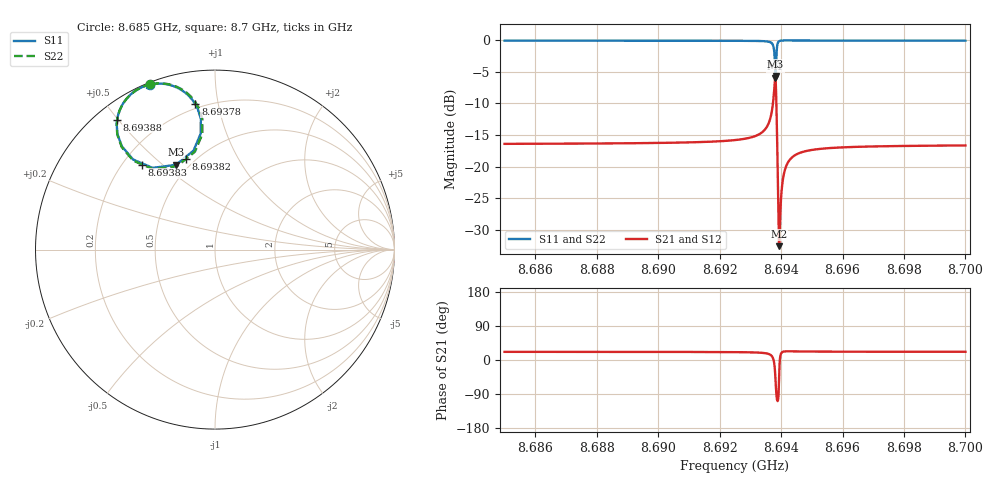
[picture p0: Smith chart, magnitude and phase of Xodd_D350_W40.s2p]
! Sonnet Data File
! From: emgraph Version : 16.52
! From Project: Qubit_Xmon2_brg
! Data is De-embedded
! Data File Written: 10/25/2017 20:12:53
!< HDATE 10/25/2017 15:44:55
!< MDATE 10/25/2017 15:44:55
!< PARAMS
!< Lj = 11.0
!< Gap = 6.0
!< Pwid = 2000.0
!< Airgap = 6.0
!< Width = 10.0
!< Bwid = 40.0
!< Dis1 = 350.0
!< Dis2 = 356.0
!< END PARAMS
# GHZ S MA R 34.70000
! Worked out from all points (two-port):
!   3001 points, 8.685 GHz to 8.7 GHz, reference 34.7 ohm
!   highest |S21| = -6.03 dB at 8.69381 GHz (marker M1); lowest = -32.6 dB at 8.69393 GHz (marker M2)
!   |S21| within 3 dB of the highest: 8.693756 GHz to 8.693842 GHz (85.49 kHz wide, 0.000983 % of centre)
!   lowest |S11| = -5.7 dB at 8.69382 GHz (marker M3), VSWR 3.17, Z = 14.9 + j19.2 ohm
!   |S11| at or under -10 dB: nowhere
!   |S22| runs from -5.8 to -0.1 dB; largest |S21 - S12| = 0
!   S11 on the Smith chart (normalised r, x): 8.685 GHz: 0.01, +0.68; 8.69378 GHz: 0.18, +0.86; 8.69382 GHz: 0.45, +0.63; 8.69383 GHz: 0.28, +0.43; 8.69388 GHz: 0.06, +0.50; 8.7 GHz: 0.01, +0.68
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8.685  0.9885 111.6  0.151 21.5  0.151 21.5  0.9885 111.4
!< P1 F=8.685 Eeff=(5.13559215 -5.6621e-5) Z0=(34.6542042 -9.3986e-5) R=0.0 C=0.0
!< P2 F=8.685 Eeff=(5.13559215 -5.6621e-5) Z0=(34.6542042 -9.3986e-5) R=0.0 C=0.0
8.6875  0.9884 111.5  0.1518 21.5  0.1518 21.5  0.9884 111.3
8.69  0.9881 111.4  0.1536 21.3  0.1536 21.3  0.9881 111.2
8.6925  0.9866 111.0  0.1618 20.8  0.1618 20.8  0.9866 110.7
8.69346  0.9786 109.1  0.1942 18.2  0.1942 18.2  0.9786 108.8
8.69369  0.9473 105.0  0.2655 11.1  0.2655 11.1  0.947 104.6
8.69374  0.9062 101.7  0.3225 4.1  0.3225 4.1  0.9054 101.3
8.693775  0.8173 97.7  0.401 -7.9  0.401 -7.9  0.8152 97.1
8.69381  0.5641 102.2  0.4995 -39.3  0.4995 -39.3  0.5566 101.6
8.693815  0.5316 107.7  0.4993 -46.4  0.4993 -46.4  0.523 107.2
8.69382  0.5198 114.7  0.4898 -54.0  0.4898 -54.0  0.5106 114.4
8.693835  0.624 130.8  0.4072 -76.4  0.4072 -76.4  0.617 131.1
8.693875  0.9065 127.0  0.1485 -107.0  0.1485 -107.0  0.9048 127.1
8.693905  0.9588 122.5  0.05819 -103.1  0.05819 -103.1  0.9581 122.5
8.693935  0.9772 119.9  0.02345 -49.1  0.02345 -49.1  0.9767 119.9
8.69396  0.984 118.5  0.03335 0.3  0.03335 0.3  0.9837 118.4
8.693985  0.9876 117.5  0.04858 13.9  0.04858 13.9  0.9874 117.4
8.69409  0.992 115.2  0.08697 22.3  0.08697 22.3  0.9919 115.1
8.694255  0.9922 113.9  0.1107 22.9  0.1107 22.9  0.9922 113.7
8.695  0.9906 112.5  0.1352 22.3  0.1352 22.3  0.9906 112.3
8.6975  0.9894 111.9  0.1449 21.8  0.1449 21.8  0.9894 111.7
8.7  0.9892 111.8  0.1467 21.7  0.1467 21.7  0.9892 111.6
